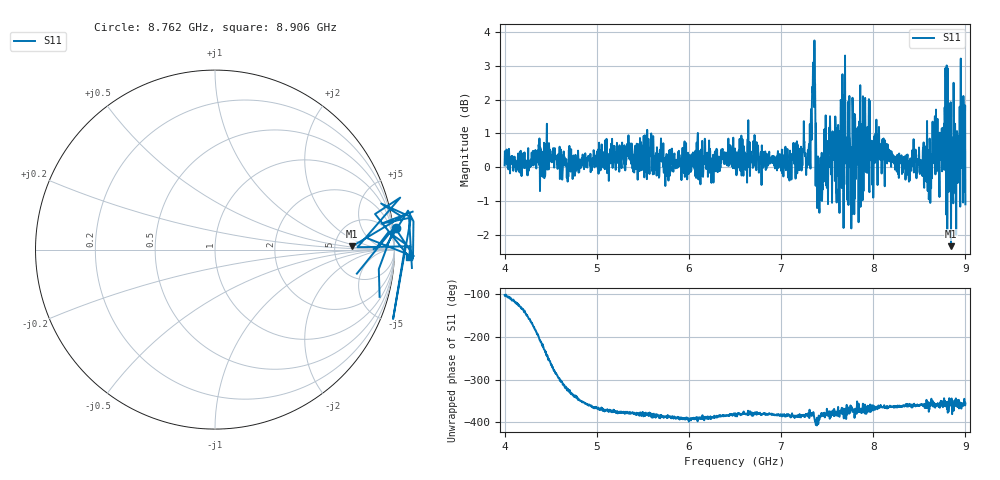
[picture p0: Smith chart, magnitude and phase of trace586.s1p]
! Created with skrf 1.8.0 (http://scikit-rf.org).
# Hz S RI R 50.0
!freq ReS11 ImS11
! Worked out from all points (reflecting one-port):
!   1601 points, 4 GHz to 9 GHz, reference 50 ohm
!   lowest |S11| = -2.3 dB at 8.844 GHz (marker M1), VSWR 7.46, Z = 370 + j31.9 ohm
!   phase of S11 starts at -101 deg and turns -255 deg over the sweep
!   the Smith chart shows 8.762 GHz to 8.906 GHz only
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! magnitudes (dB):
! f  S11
! 4 GHz  0.1
! 4.625 GHz  -0.4
! 5.25 GHz  0.5
! 5.875 GHz  0.0
! 6.5 GHz  0.6
! 7.125 GHz  0.4
! 7.294 GHz  0.1
! 7.347 GHz  3.1
! 7.362 GHz  3.8
! 7.397 GHz  -1.0
! 7.409 GHz  -0.7
! 7.509 GHz  -1.1
! 7.619 GHz  1.3
! 7.669 GHz  0.8
! 7.75 GHz  0.3
! 7.775 GHz  2.1
! 7.928 GHz  0.2
! 7.981 GHz  0.7
! 8.375 GHz  -0.2
! 8.441 GHz  -0.2
! 8.612 GHz  0.8
! 8.656 GHz  1.1
! 8.725 GHz  0.8
! 8.788 GHz  0.6
! 8.844 GHz  -2.3
! 8.919 GHz  -0.4
! 8.972 GHz  0.7
! 9 GHz  -1.1
